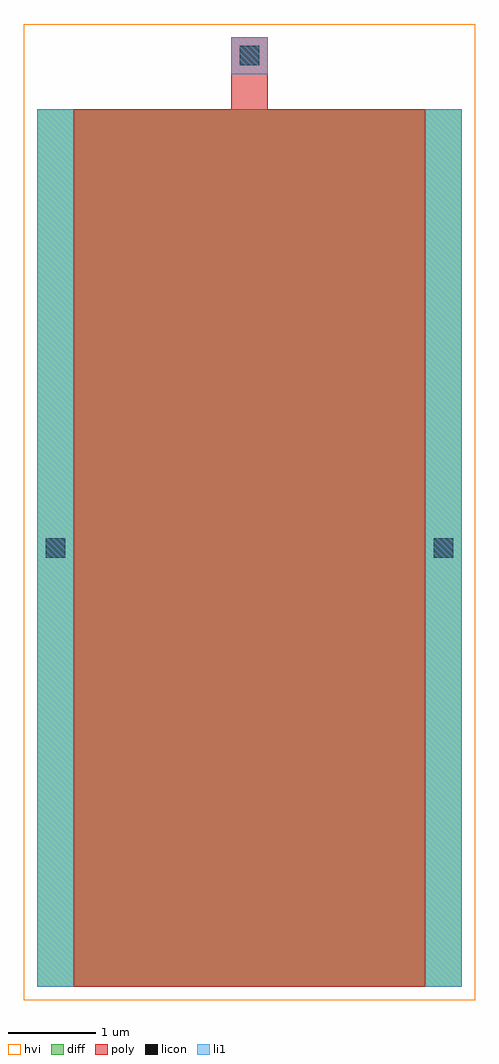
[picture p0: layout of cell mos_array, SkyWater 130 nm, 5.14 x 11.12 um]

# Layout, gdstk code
import gdstk
lib = gdstk.Library(unit=1e-6, precision=1e-09)
def R(c, l, rs):  # rectangles x0, y0, x1, y1
    for r in rs: c.add(gdstk.rectangle(r[:2], r[2:], *l))
diff = (65, 20)
poly = (66, 20)
licon = (66, 44)
li1 = (67, 20)
hvi = (75, 20)

mos_array = lib.new_cell('mos_array')
R(mos_array, diff, [(0,0,4.84,10)])
R(mos_array, poly, [(0.42,0,4.42,10), (2.21,10,2.63,10.82)])
R(mos_array, licon, [(0.1,4.89,0.32,5.11), (4.52,4.89,4.74,5.11), (2.31,10.5,2.53,10.72)])
R(mos_array, li1, [(0,0,0.42,10), (4.42,0,4.84,10), (2.21,10.4,2.63,10.82)])
R(mos_array, hvi, [(-0.15,-0.15,4.99,10.97)])

lib.write_gds('mos_array.gds')
